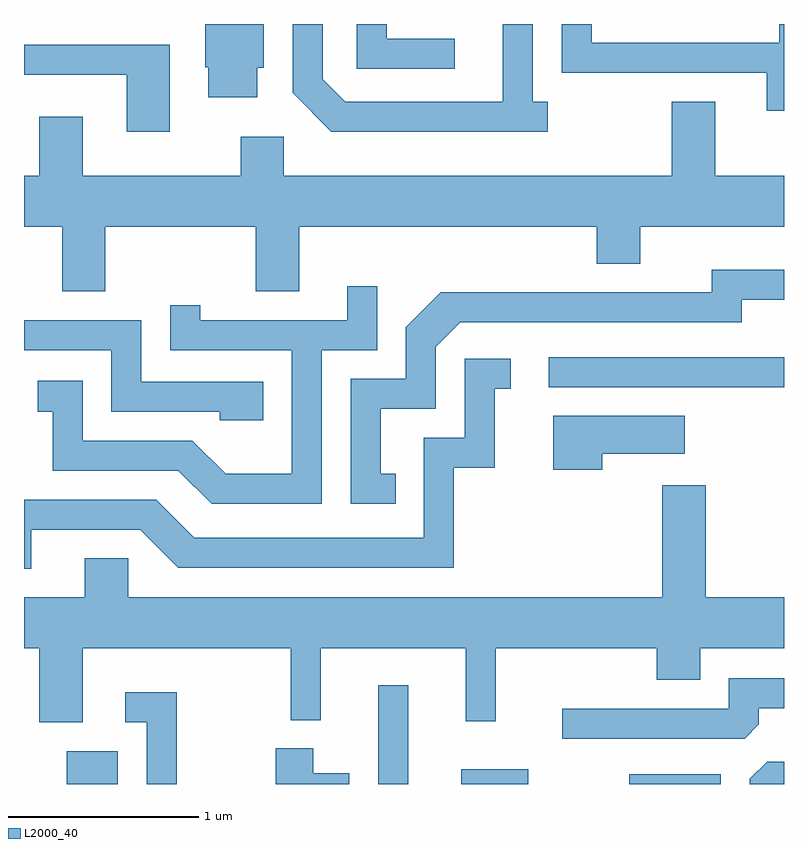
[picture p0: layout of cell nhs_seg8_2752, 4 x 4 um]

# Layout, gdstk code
import gdstk
lib = gdstk.Library(unit=1e-6, precision=1e-09)
def R(c, l, rs):  # rectangles x0, y0, x1, y1
    for r in rs: c.add(gdstk.rectangle(r[:2], r[2:], *l))
def P(c, l, *ps):  # polygons
    for p in ps: c.add(gdstk.Polygon(p, *l))
L2000_40 = (2000, 40)

nhs_seg8_2752 = lib.new_cell('nhs_seg8_2752')
R(nhs_seg8_2752, L2000_40, [(267.836,1862.342,268.104,1862.514), (269.476,1862.342,269.634,1862.863), (269.911,1862.342,270.264,1862.419), (270.796,1862.342,271.279,1862.394), (270.373,1864.431,271.611,1864.589)])
P(nhs_seg8_2752, L2000_40, [(270.368,1865.934),(270.289,1865.934),(270.289,1866.342),(270.131,1866.342),(270.131,1865.934),(269.302,1865.934),(269.184,1866.052),(269.184,1866.342),(269.026,1866.342),(269.026,1865.979),(269.229,1865.776),(270.368,1865.776)],
  [(269.878,1866.264),(269.519,1866.264),(269.519,1866.342),(269.361,1866.342),(269.361,1866.106),(269.878,1866.106)],
  [(271.611,1866.342),(271.586,1866.342),(271.586,1866.244),(270.599,1866.244),(270.599,1866.342),(270.441,1866.342),(270.441,1866.086),(271.521,1866.086),(271.521,1865.886),(271.611,1865.886)],
  [(268.839,1866.111),(268.874,1866.111),(268.874,1866.342),(268.566,1866.342),(268.566,1866.115),(268.581,1866.115),(268.581,1865.956),(268.839,1865.956)],
  [(268.379,1866.234),(267.611,1866.234),(267.611,1866.076),(268.151,1866.076),(268.151,1865.776),(268.379,1865.776)],
  [(271.611,1865.544),(271.249,1865.544),(271.249,1865.934),(271.021,1865.934),(271.021,1865.544),(268.979,1865.544),(268.979,1865.749),(268.751,1865.749),(268.751,1865.544),(267.919,1865.544),(267.919,1865.854),(267.691,1865.854),(267.691,1865.544),(267.611,1865.544),(267.611,1865.276),(267.811,1865.276),(267.811,1864.936),(268.039,1864.936),(268.039,1865.276),(268.831,1865.276),(268.831,1864.936),(269.059,1864.936),(269.059,1865.276),(270.626,1865.276),(270.626,1865.081),(270.854,1865.081),(270.854,1865.276),(271.611,1865.276)],
  [(269.568,1863.974),(269.489,1863.974),(269.489,1864.316),(269.779,1864.316),(269.779,1864.644),(269.907,1864.771),(271.389,1864.771),(271.389,1864.891),(271.611,1864.891),(271.611,1865.049),(271.231,1865.049),(271.231,1864.929),(269.804,1864.929),(269.621,1864.747),(269.621,1864.474),(269.331,1864.474),(269.331,1863.816),(269.568,1863.816)],
  [(269.179,1864.626),(269.469,1864.626),(269.469,1864.963),(269.311,1864.963),(269.311,1864.784),(268.539,1864.784),(268.539,1864.863),(268.381,1864.863),(268.381,1864.626),(269.021,1864.626),(269.021,1863.974),(268.672,1863.974),(268.497,1864.149),(267.919,1864.149),(267.919,1864.464),(267.683,1864.464),(267.683,1864.301),(267.761,1864.301),(267.761,1863.991),(268.424,1863.991),(268.599,1863.816),(269.179,1863.816)],
  [(268.869,1864.459),(268.229,1864.459),(268.229,1864.784),(267.611,1864.784),(267.611,1864.626),(268.071,1864.626),(268.071,1864.301),(268.641,1864.301),(268.641,1864.256),(268.869,1864.256)],
  [(267.649,1863.681),(268.224,1863.681),(268.424,1863.481),(269.874,1863.481),(269.874,1864.006),(270.089,1864.006),(270.089,1864.421),(270.173,1864.421),(270.173,1864.579),(269.931,1864.579),(269.931,1864.164),(269.716,1864.164),(269.716,1863.639),(268.507,1863.639),(268.307,1863.839),(267.611,1863.839),(267.611,1863.476),(267.649,1863.476)],
  [(270.654,1864.081),(271.089,1864.081),(271.089,1864.279),(270.396,1864.279),(270.396,1863.996),(270.654,1863.996)],
  [(267.919,1863.056),(269.016,1863.056),(269.016,1862.678),(269.174,1862.678),(269.174,1863.056),(269.936,1863.056),(269.936,1862.673),(270.094,1862.673),(270.094,1863.056),(270.941,1863.056),(270.941,1862.891),(271.169,1862.891),(271.169,1863.056),(271.611,1863.056),(271.611,1863.324),(271.199,1863.324),(271.199,1863.914),(270.971,1863.914),(270.971,1863.324),(268.159,1863.324),(268.159,1863.529),(267.931,1863.529),(267.931,1863.324),(267.611,1863.324),(267.611,1863.056),(267.691,1863.056),(267.691,1862.666),(267.919,1862.666)],
  [(271.479,1862.657),(271.479,1862.741),(271.611,1862.741),(271.611,1862.899),(271.321,1862.899),(271.321,1862.739),(270.443,1862.739),(270.443,1862.581),(271.404,1862.581)],
  [(268.414,1862.824),(268.143,1862.824),(268.143,1862.666),(268.256,1862.666),(268.256,1862.342),(268.414,1862.342)],
  [(269.324,1862.399),(269.134,1862.399),(269.134,1862.529),(268.936,1862.529),(268.936,1862.342),(269.324,1862.342)],
  [(271.611,1862.459),(271.522,1862.459),(271.431,1862.369),(271.431,1862.342),(271.611,1862.342)])

lib.write_gds('nhs_seg8_2752.gds')
